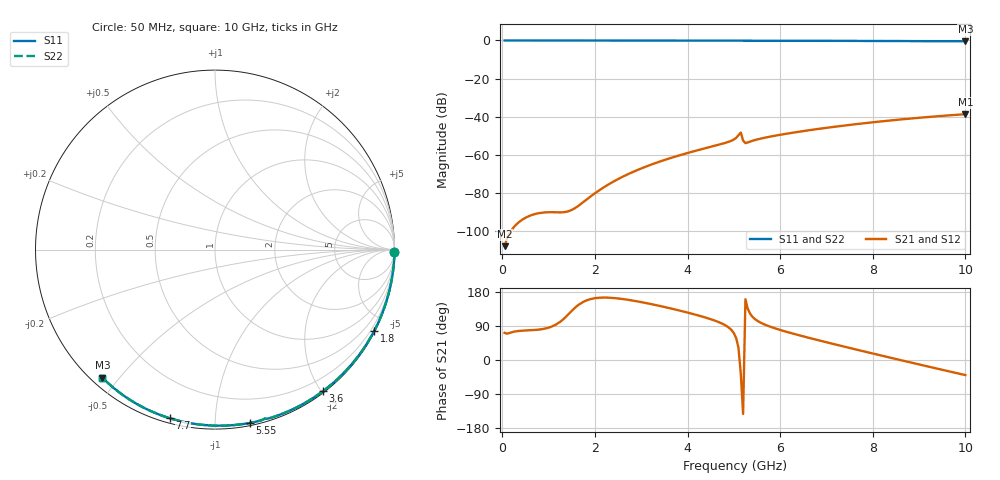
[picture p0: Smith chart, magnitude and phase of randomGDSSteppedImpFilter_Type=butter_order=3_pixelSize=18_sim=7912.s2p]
! freq	dB(S11)	phase(S11)	dB(S12)	phase(S12)
!  dB(S21)	phase(S21)	dB(S22)	phase(S22)
!S-par simulation data
#  GHz  S  DB  R 50
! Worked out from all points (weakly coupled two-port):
!   200 points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, 50 MHz to 10 GHz, reference 50 ohm
!   highest |S21| = -38.69 dB at 10 GHz (marker M1); lowest = -107.9 dB at 50 MHz (marker M2)
!   lowest |S11| = -0.4 dB at 10 GHz (marker M3), VSWR 39.13, Z = 1.54 - j22.6 ohm
!   |S11| at or under -10 dB: nowhere
!   |S22| runs from -0.4 to 0.0 dB; largest |S21 - S12| = 0
!   S11 on the Smith chart (normalised r, x): 50 MHz: open; 1.8 GHz: 0.04, -4.18; 3.6 GHz: 0.02, -2.02; 5.55 GHz: 0.02, -1.22; 7.7 GHz: 0.02, -0.77; 10 GHz: 0.03, -0.45
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0.05  -0.00 -0.8  -107.94 71.8  -107.94 71.8  -0.00 -0.8
0.9  -0.02 -13.6  -90.27 82.3  -90.27 82.3  -0.02 -13.6
1.75  -0.03 -26.2  -84.79 153.4  -84.79 153.4  -0.03 -26.2
1.8  -0.03 -26.9  -83.84 156.3  -83.84 156.3  -0.03 -26.9
2  -0.04 -29.8  -80.19 163.1  -80.19 163.1  -0.04 -29.8
2.35  -0.04 -34.9  -74.72 164.1  -74.72 164.1  -0.04 -34.9
2.65  -0.05 -39.3  -70.90 160.1  -70.90 160.1  -0.05 -39.3
3  -0.06 -44.2  -67.15 152.8  -67.15 152.8  -0.06 -44.2
3.4  -0.07 -49.9  -63.54 142.7  -63.54 142.7  -0.07 -49.9
3.6  -0.07 -52.6  -61.94 137.1  -61.94 137.1  -0.07 -52.6
4.8  -0.10 -68.9  -53.86 92.7  -53.86 92.7  -0.10 -68.9
4.95  -0.11 -70.9  -52.58 78.9  -52.58 78.9  -0.11 -70.9
5.05  -0.11 -72.3  -51.11 57.9  -51.11 57.9  -0.11 -72.3
5.15  -0.16 -73.6  -48.32 -36.2  -48.32 -36.2  -0.16 -73.6
5.2  -0.14 -74.0  -52.54 -142.3  -52.54 -142.3  -0.14 -74.0
5.25  -0.13 -74.6  -53.87 160.2  -53.87 160.2  -0.13 -74.6
5.55  -0.13 -78.6  -51.66 100.5  -51.66 100.5  -0.13 -78.6
6  -0.15 -84.3  -49.50 79.3  -49.50 79.3  -0.15 -84.3
6.7  -0.18 -93.0  -46.84 56.0  -46.84 56.0  -0.18 -93.0
7.7  -0.24 -105.0  -43.74 25.9  -43.74 25.9  -0.24 -105.0
8.35  -0.29 -112.6  -42.05 6.9  -42.05 6.9  -0.29 -112.6
10  -0.44 -131.4  -38.69 -39.8  -38.69 -39.8  -0.44 -131.4
